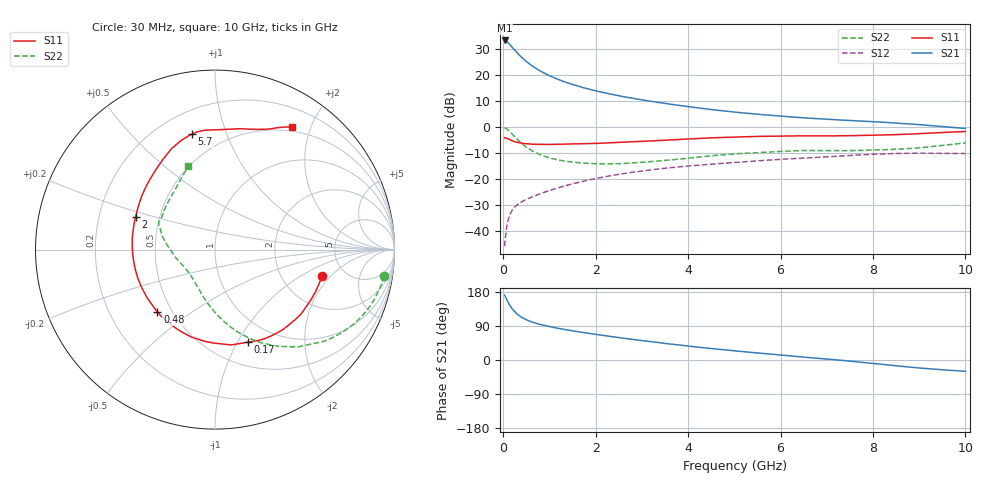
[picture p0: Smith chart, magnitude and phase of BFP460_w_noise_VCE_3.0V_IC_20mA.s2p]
! (c) 2016  Infineon Technologies AG, Munich
! Infineon Technologies  Discrete & RF Semiconductors
! BFP460
! VCE =  3.0 V,  IC =  20 mA
! Common Emitter S-Parameters:  Jan 2016
# GHz  S  MA  R  50
!  f  S11  S21  S12  S22
! GHz  MAG  ANG  MAG  ANG  MAG  ANG  MAG  ANG
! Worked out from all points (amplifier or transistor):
!   229 points, 30 MHz to 10 GHz, reference 50 ohm
!   highest |S21| = 33.1 dB at 30 MHz (marker M1)
!   |S21| within 3 dB of that: start of sweep to 214 MHz
!   unconditionally stable (mu >= 1): 1.819 GHz to 7.729 GHz
!   at 280 MHz: K = 0.42, MSG = 29.5 dB, |S12| = -30.3 dB
!   at 1.78 GHz: K = 1.00, MSG = 17.7 dB, |S12| = -20.7 dB
!   at 10 GHz: K = 0.97, MSG = 4.8 dB, |S12| = -10.3 dB
!   lowest NFmin = 1.24 dB at 450 MHz
!   S11 on the Smith chart (normalised r, x): 30 MHz: 3.35, -1.61; 170 MHz: 0.75, -1.10; 480 MHz: 0.42, -0.37; 2 GHz: 0.36, +0.17; 5.7 GHz: 0.34, +0.76; 10 GHz: 0.44, +1.73
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0.03  0.6147 -14.1  45.24 171.2  0.0051 83.7  0.9533 -8.9
0.07  0.5996 -32.6  43.3 160.2  0.0112 76.6  0.9184 -20.2
0.09  0.5931 -41.3  41.89 155.5  0.014 73.4  0.8914 -25.6
0.12  0.5791 -53.4  39.55 148.7  0.0178 68.7  0.8452 -33.1
0.14  0.5681 -60.8  37.97 144.6  0.02 66.3  0.812 -37.7
0.17  0.5474 -70.5  35.37 139.3  0.0228 62.9  0.7597 -43.5
0.2  0.539 -80.3  33.09 133.9  0.0255 60.2  0.7129 -49.5
0.24  0.5204 -91.1  30.15 128.4  0.0282 57.5  0.6525 -55.8
0.3  0.5049 -105.0  26.32 121.2  0.0317 54.8  0.5742 -64.2
0.4  0.4822 -122.4  21.37 112.5  0.0364 52.5  0.4752 -74.7
0.48  0.4724 -132.8  18.47 107.4  0.0396 52.1  0.4179 -81.1
0.66  0.4604 -149.8  14.04 98.9  0.0465 52.6  0.3329 -92.5
0.9  0.458 -165.2  10.52 90.8  0.0557 53.9  0.2695 -104.2
1.2  0.4597 -178.4  8.01 83.3  0.0678 54.8  0.2295 -115.1
1.7  0.4694 165.5  5.727 73.1  0.0887 54.4  0.2015 -128.9
2  0.4785 157.5  4.893 67.7  0.1013 53.2  0.1952 -136.2
3.4  0.5451 129.0  2.882 45.4  0.1561 43.6  0.2219 -167.9
5.1  0.6382 106.6  1.873 23.0  0.209 31.5  0.3043 165.1
5.7  0.6561 101.2  1.678 16.4  0.2276 27.1  0.3244 159.8
6.8  0.6667 91.9  1.425 4.6  0.2587 19.4  0.3479 153.6
8.4  0.7007 73.1  1.191 -14.0  0.3052 5.4  0.3664 137.7
10  0.809 57.8  0.925 -29.8  0.3057 -7.1  0.4886 107.6
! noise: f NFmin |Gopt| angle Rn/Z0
0.45  1.24  0.07  -176  0.13
0.9  1.26  0.04  175  0.15
1.9  1.38  0.18  -150  0.12
3.5  1.34  0.41  -125  0.15
